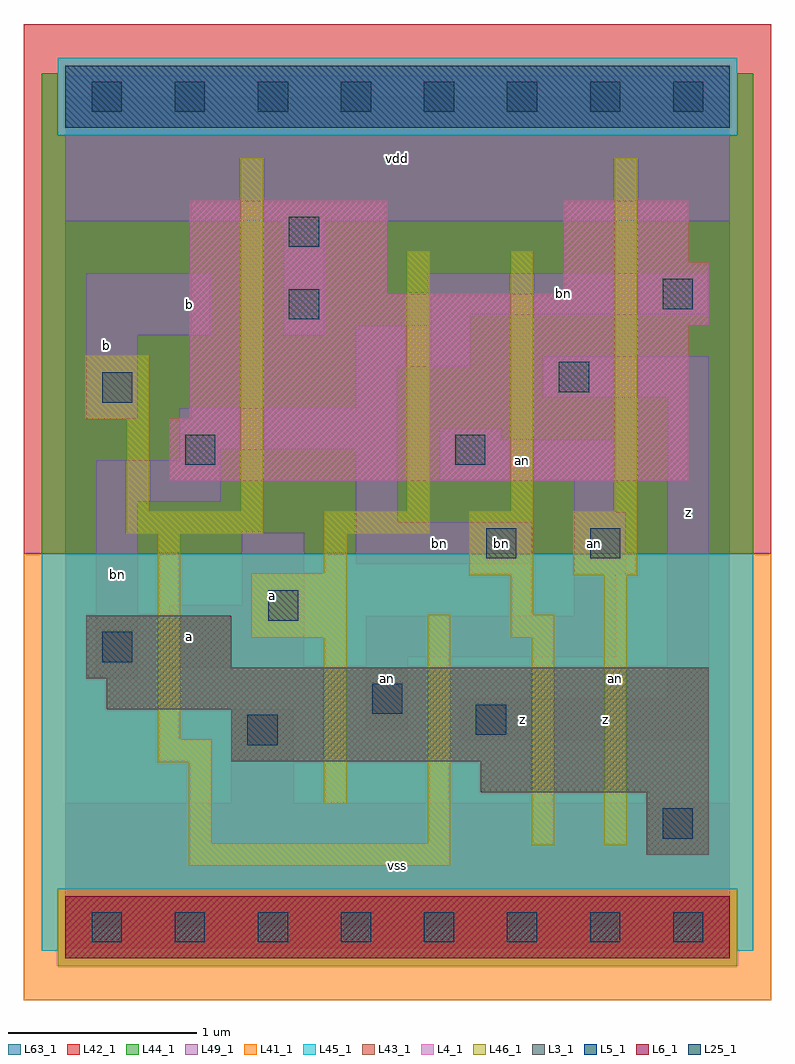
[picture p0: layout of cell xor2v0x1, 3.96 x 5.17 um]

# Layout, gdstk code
import gdstk
lib = gdstk.Library(unit=1e-6, precision=1e-09)
def R(c, l, rs):  # rectangles x0, y0, x1, y1
    for r in rs: c.add(gdstk.rectangle(r[:2], r[2:], *l))
def A(c, l, x, y, w, h, nx, ny, dx, dy):  # array of equal rectangles
    R(c, l, [(x+i*dx, y+j*dy, x+i*dx+w, y+j*dy+h) for i in range(nx) for j in range(ny)])
L3_1 = (3, 1)
L4_1 = (4, 1)
L5_1 = (5, 1)
L6_1 = (6, 1)
L25_1 = (25, 1)
L41_1 = (41, 1)
L42_1 = (42, 1)
L43_1 = (43, 1)
L44_1 = (44, 1)
L45_1 = (45, 1)
L46_1 = (46, 1)
L49_1 = (49, 1)
L63_1 = (63, 1)

xor2v0x1 = lib.new_cell('xor2v0x1')
R(xor2v0x1, L3_1, [(3.08,0.385,3.41,0.715), (2.2,0.715,3.41,0.88), (0.88,0.88,3.41,1.155), (0.22,1.155,3.41,1.32), (0.11,1.32,3.41,1.375), (0.11,1.375,0.88,1.65)])
R(xor2v0x1, L4_1, [(0.55,2.365,3.3,2.695), (0.66,2.695,3.3,3.19), (0.66,3.19,3.41,3.355), (0.66,3.355,1.705,3.85), (2.64,3.355,3.41,3.52), (2.64,3.52,3.3,3.85)])
R(xor2v0x1, L5_1, [(0,4.235,3.52,4.565)])
R(xor2v0x1, L6_1, [(0,-0.165,3.52,0.165)])
A(xor2v0x1, L25_1, 0.14, -0.08, 0.16, 0.16, 8, 2, 0.44, 4.4)
R(xor2v0x1, L25_1, [(3.165,0.47,3.325,0.63), (0.965,0.965,1.125,1.125), (2.175,1.02,2.335,1.18), (1.625,1.13,1.785,1.29), (0.195,1.405,0.355,1.565), (1.075,1.625,1.235,1.785), (2.23,1.955,2.39,2.115), (2.78,1.955,2.94,2.115), (0.635,2.45,0.795,2.61), (2.065,2.45,2.225,2.61), (0.195,2.78,0.355,2.94), (2.615,2.835,2.775,2.995), (1.185,3.22,1.345,3.38), (3.165,3.275,3.325,3.435), (1.185,3.605,1.345,3.765)])
R(xor2v0x1, L41_1, [(-0.22,-0.385,3.74,1.98)])
R(xor2v0x1, L42_1, [(-0.22,1.98,3.74,4.785)])
R(xor2v0x1, L43_1, [(0,-0.165,3.52,0.165), (3.08,0.385,3.41,0.715), (2.2,0.715,3.41,0.88), (0.88,0.88,3.41,1.155), (0.22,1.155,3.41,1.32), (0.11,1.32,3.41,1.375), (0.11,1.375,0.88,1.65), (0.55,2.365,3.3,2.695), (0.66,2.695,3.3,3.19), (0.66,3.19,3.41,3.355), (0.66,3.355,1.705,3.85), (2.64,3.355,3.41,3.52), (2.64,3.52,3.3,3.85), (0,4.235,3.52,4.565)])
R(xor2v0x1, L44_1, [(-0.04,-0.205,3.56,0.205), (-0.125,1.98,3.645,4.195), (-0.125,4.195,-0.04,4.525), (3.56,4.195,3.645,4.525)])
R(xor2v0x1, L45_1, [(-0.125,-0.125,-0.04,0.205), (3.56,-0.125,3.645,0.205), (-0.125,0.205,3.645,1.98), (-0.04,4.195,3.56,4.605)])
R(xor2v0x1, L46_1, [(0.655,0.325,2.04,0.445), (2.47,0.435,2.59,1.535), (2.855,0.435,2.975,1.865), (0.655,0.445,0.775,0.875), (1.92,0.445,2.04,1.655), (1.37,0.655,1.49,1.535), (0.49,0.875,0.775,0.995), (0.49,0.995,0.61,2.085), (0.985,1.535,1.49,1.875), (2.36,1.535,2.59,1.655), (2.36,1.655,2.48,1.865), (2.14,1.865,2.48,2.205), (2.69,1.865,3.03,2.205), (1.37,1.875,1.49,2.085), (0.325,2.085,1.05,2.205), (1.37,2.085,1.93,2.205), (0.325,2.205,0.445,2.69), (0.93,2.205,1.05,4.075), (1.81,2.205,1.93,3.58), (2.36,2.205,2.48,3.58), (2.91,2.205,3.03,4.075), (0.105,2.69,0.445,3.03)])
R(xor2v0x1, L49_1, [(0,-0.11,3.52,0.66), (0.88,0.66,1.21,1.155), (2.09,0.99,3.41,1.21), (1.595,1.045,1.815,1.43), (3.19,1.21,3.41,2.805), (0.165,1.32,0.385,2.255), (0.55,1.375,1.265,1.705), (1.595,1.43,2.915,1.65), (2.695,1.65,2.915,1.87), (0.935,1.705,1.265,2.09), (2.695,1.87,2.97,2.2), (1.54,1.925,2.475,2.145), (1.54,2.145,1.76,2.53), (2.695,2.2,2.915,2.365), (0.165,2.255,0.825,2.475), (1.98,2.365,2.915,2.585), (0.605,2.475,0.825,2.53), (0.605,2.53,1.76,2.75), (1.98,2.585,2.31,2.64), (0.11,2.695,0.385,3.135), (1.54,2.75,1.76,2.97), (2.53,2.805,3.41,3.025), (1.54,2.97,2.145,3.19), (0.11,3.135,0.77,3.465), (1.155,3.135,1.375,3.74), (1.925,3.19,2.145,3.245), (1.925,3.245,3.41,3.465), (0,3.74,3.52,4.51)])
R(xor2v0x1, L63_1, [(0,0,3.52,4.4)])
xor2v0x1.add(gdstk.Label('bn', (2.31,2.035), layer=49, texttype=1))
xor2v0x1.add(gdstk.Label('an', (2.915,1.32), layer=46, texttype=1))
xor2v0x1.add(gdstk.Label('bn', (0.275,1.87), layer=49, texttype=1))
xor2v0x1.add(gdstk.Label('b', (0.22,3.08), layer=49, texttype=1))
xor2v0x1.add(gdstk.Label('a', (0.66,1.54), layer=49, texttype=1))
xor2v0x1.add(gdstk.Label('a', (1.1,1.76), layer=49, texttype=1))
xor2v0x1.add(gdstk.Label('b', (0.66,3.3), layer=49, texttype=1))
xor2v0x1.add(gdstk.Label('vss', (1.76,0.33), layer=49, texttype=1))
xor2v0x1.add(gdstk.Label('an', (1.705,1.32), layer=49, texttype=1))
xor2v0x1.add(gdstk.Label('vdd', (1.76,4.07), layer=49, texttype=1))
xor2v0x1.add(gdstk.Label('z', (2.42,1.1), layer=49, texttype=1))
xor2v0x1.add(gdstk.Label('bn', (1.98,2.035), layer=49, texttype=1))
xor2v0x1.add(gdstk.Label('z', (2.86,1.1), layer=49, texttype=1))
xor2v0x1.add(gdstk.Label('an', (2.805,2.035), layer=49, texttype=1))
xor2v0x1.add(gdstk.Label('an', (2.42,2.475), layer=49, texttype=1))
xor2v0x1.add(gdstk.Label('z', (3.3,2.2), layer=49, texttype=1))
xor2v0x1.add(gdstk.Label('bn', (2.64,3.355), layer=49, texttype=1))

lib.write_gds('xor2v0x1.gds')
